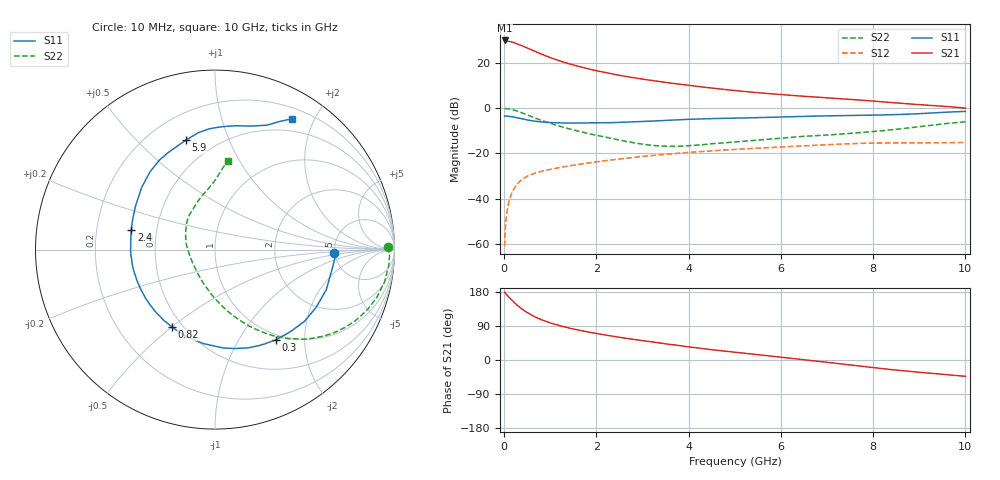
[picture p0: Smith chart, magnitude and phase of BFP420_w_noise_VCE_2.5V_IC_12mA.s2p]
! Infineon Technologies  Discrete & RF Semiconductors
! BFP420
! VCE =  2.5 V,  IC =  12 mA
! Common Emitter S-Parameters:  Jan 2016
# GHz  S  MA  R  50
!  f  S11  S21  S12  S22
! GHz  MAG  ANG  MAG  ANG  MAG  ANG  MAG  ANG
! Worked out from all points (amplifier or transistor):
!   233 points, 10 MHz to 10 GHz, reference 50 ohm
!   highest |S21| = 29.8 dB at 10 MHz (marker M1)
!   |S21| within 3 dB of that: start of sweep to 463.3 MHz
!   unconditionally stable (mu >= 1): 2.2 GHz to end of sweep
!   at 200 MHz: K = 0.16, MSG = 32.5 dB, |S12| = -36.0 dB
!   at 1.74 GHz: K = 0.88, MSG = 21.1 dB, |S12| = -24.5 dB
!   at 10 GHz: K = 1.08, MAG = 5.8 dB, |S12| = -15.2 dB
!   lowest NFmin = 0.95 dB at 900 MHz
!   S11 on the Smith chart (normalised r, x): 10 MHz: 4.89, -0.34; 300 MHz: 0.92, -1.46; 820 MHz: 0.44, -0.50; 2.4 GHz: 0.36, +0.10; 5.9 GHz: 0.35, +0.71; 10 GHz: 0.33, +1.70
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0.01  0.6617 -1.7  30.97 179.0  0.0009 72.6  0.9658 1.0
0.02  0.6698 -4.0  30.17 177.2  0.0018 85.4  0.973 -2.0
0.1  0.659 -19.8  29.72 166.5  0.0083 81.6  0.961 -11.0
0.15  0.6492 -29.4  28.98 160.1  0.0122 77.1  0.9403 -16.4
0.24  0.6236 -45.7  27.11 149.4  0.0184 70.3  0.8876 -25.2
0.3  0.6065 -56.0  25.81 142.9  0.0221 66.4  0.847 -30.6
0.38  0.5817 -68.6  23.88 135.2  0.0262 62.0  0.7892 -36.9
0.45  0.5623 -78.7  22.24 129.1  0.0294 58.8  0.7401 -41.8
0.6  0.5272 -97.4  19.01 117.9  0.0347 53.7  0.6427 -50.6
0.7  0.5103 -108.2  17.16 111.9  0.0376 51.3  0.5871 -55.3
0.82  0.4933 -119.0  15.26 105.7  0.0406 49.3  0.5303 -60.1
1  0.4797 -133.3  12.97 97.8  0.0446 47.3  0.4595 -66.6
1.2  0.4716 -146.0  11.02 90.6  0.0488 45.9  0.3982 -72.8
1.4  0.4681 -156.6  9.521 84.5  0.0528 44.9  0.3502 -78.4
1.68  0.4681 -168.9  7.968 77.2  0.0585 43.8  0.2974 -85.8
2.4  0.4793 166.6  5.514 61.8  0.0734 40.3  0.2055 -106.4
3.4  0.5281 141.8  3.8 44.5  0.0935 33.9  0.1453 -147.0
5.1  0.6023 114.6  2.38 19.2  0.124 20.7  0.1819 154.0
5.9  0.6306 104.9  2.02 8.8  0.1368 14.6  0.2133 137.9
6.8  0.6666 94.9  1.734 -3.3  0.1522 6.9  0.2473 122.7
8.4  0.713 74.9  1.322 -25.4  0.17 -10.0  0.3314 98.1
10  0.8453 59.5  1 -43.1  0.174 -21.6  0.499 81.8
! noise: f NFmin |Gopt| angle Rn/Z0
0.9  0.95  0.03  -151  0.13
1.8  1.27  0.13  -152  0.12
2.4  1.38  0.13  -160  0.14
3  1.43  0.22  -145  0.13
4  1.58  0.35  -123  0.17
5  2.03  0.43  -103  0.28
6  2.4  0.47  -91  0.43
